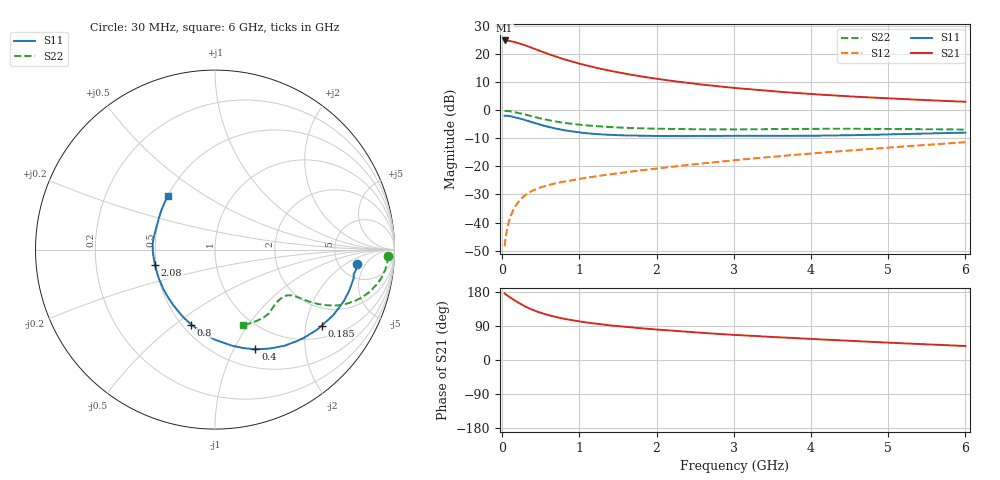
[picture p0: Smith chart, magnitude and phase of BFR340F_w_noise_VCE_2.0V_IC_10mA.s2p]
! (c) 2015  Infineon Technologies AG, Munich
! Infineon Technologies  Discrete & RF Semiconductors
! BFR340F
! VCE =  2.0 V,  IC =  10 mA
! Common Emitter S-Parameters:  Nov 2015
# GHz  S  MA  R  50
!  f  S11  S21  S12  S22
! GHz  MAG  ANG  MAG  ANG  MAG  ANG  MAG  ANG
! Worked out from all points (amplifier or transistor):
!   206 points, 30 MHz to 6 GHz, reference 50 ohm
!   highest |S21| = 24.7 dB at 30 MHz (marker M1)
!   |S21| within 3 dB of that: start of sweep to 417.7 MHz
!   unconditionally stable (mu >= 1): 1.615 GHz to 5.162 GHz
!   at 200 MHz: K = 0.23, MSG = 28.4 dB, |S12| = -33.0 dB
!   at 1.56 GHz: K = 0.99, MSG = 17.7 dB, |S12| = -22.3 dB
!   at 6 GHz: K = 0.95, MSG = 7.2 dB, |S12| = -11.4 dB
!   lowest NFmin = 1.46 dB at 450 MHz
!   S11 on the Smith chart (normalised r, x): 30 MHz: 7.25, -3.19; 185 MHz: 1.36, -2.47; 400 MHz: 0.71, -1.22; 800 MHz: 0.55, -0.57; 2.08 GHz: 0.49, -0.10; 6 GHz: 0.50, +0.35
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0.03  0.7934 -5.9  17.22 175.9  0.0038 85.1  0.965 -2.2
0.05  0.7851 -10.1  17.07 172.3  0.0063 83.2  0.9627 -4.1
0.09  0.7803 -18.0  16.92 166.9  0.0109 80.4  0.9518 -7.4
0.15  0.7527 -29.2  16.26 158.5  0.0176 76.1  0.9236 -12.0
0.185  0.7301 -35.4  15.78 154.1  0.021 73.2  0.9019 -14.3
0.24  0.6979 -44.7  14.99 147.4  0.0261 69.5  0.8664 -17.5
0.3  0.6609 -54.1  14.04 140.9  0.0309 66.0  0.8257 -20.5
0.4  0.599 -67.9  12.46 131.7  0.0373 61.9  0.7606 -24.0
0.5  0.5446 -79.8  11.05 124.3  0.0423 59.2  0.7043 -26.2
0.6  0.5013 -90.3  9.848 118.1  0.0465 57.7  0.6582 -27.6
0.7  0.4658 -99.5  8.832 113.0  0.0502 56.9  0.6211 -28.5
0.8  0.438 -107.6  7.979 108.7  0.0535 56.7  0.5913 -29.0
1.04  0.393 -123.9  6.453 100.6  0.061 57.4  0.5409 -29.8
1.2  0.3754 -133.0  5.693 96.1  0.0659 58.3  0.5176 -30.2
1.4  0.3623 -142.6  4.962 91.4  0.072 59.6  0.4971 -30.9
2.02  0.3452 -163.8  3.556 80.0  0.0922 63.6  0.4651 -34.1
2.08  0.3448 -165.5  3.465 79.1  0.0942 63.9  0.4634 -34.6
2.6  0.3464 -177.7  2.818 71.5  0.1126 66.3  0.4533 -38.5
3.1  0.3483 173.5  2.407 65.3  0.1316 67.7  0.4533 -42.7
4.1  0.3499 158.2  1.884 54.6  0.173 69.1  0.465 -50.5
5.1  0.3701 144.1  1.586 44.9  0.2196 68.9  0.4596 -60.0
6  0.3965 131.7  1.401 36.9  0.2678 67.4  0.4487 -69.6
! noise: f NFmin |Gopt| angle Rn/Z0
0.45  1.46  0.25  -1  0.28
0.9  1.58  0.23  10  0.3
1.9  2.07  0.09  -23  0.3
2.4  2.36  0.04  -58  0.31
